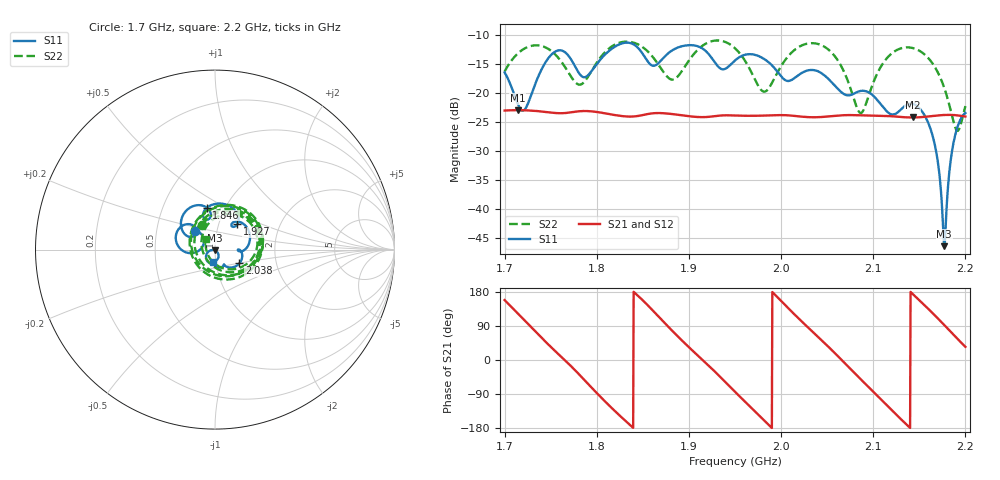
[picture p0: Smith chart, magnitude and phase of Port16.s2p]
# Hz S RI R 50
! CMT, CMT808U, 21440046, 21.4.3/4
! Date: 6/12/2026 9:39:45 AM
! Data: Format (Calibration Info)
! Freq	S11:Re/Im(F2)	S41:Re/Im(F2)	S14:Re/Im(F2)	S44:Re/Im(F2)
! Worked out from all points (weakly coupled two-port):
!   1001 points, 1.7 GHz to 2.2 GHz, reference 50 ohm
!   highest |S21| = -22.96 dB at 1.714 GHz (marker M1); lowest = -24.2 dB at 2.143 GHz (marker M2)
!   lowest |S11| = -46.4 dB at 2.177 GHz (marker M3), VSWR 1.01, Z = 49.8 - j0.423 ohm
!   |S11| at or under -10 dB: start of sweep to end of sweep
!   |S22| runs from -26.5 to -10.9 dB; largest |S21 - S12| = 0.0012
!   S11 on the Smith chart (normalised r, x): 1.7 GHz: 0.79, +0.17; 1.846 GHz: 0.82, +0.41; 1.927 GHz: 1.23, +0.36; 2.038 GHz: 1.30, -0.20; 2.2 GHz: 0.97, -0.13
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1.7e9  -0.1095 0.1034  -0.0656 0.0263  -0.0656 0.0253  -0.0719 0.1356
1.714e9  -0.0618 0.0535  -0.0393 0.0593  -0.04 0.0584  0.0477 0.2129
1.756e9  -0.2185 0.0718  0.0628 0.0239  0.0621 0.0248  0.1831 -0.1047
1.7835e9  -0.1036 0.094  0.0496 -0.0492  0.0502 -0.0482  -0.1088 -0.0489
1.8155e9  -0.1901 0.1435  -0.0375 -0.0536  -0.0365 -0.054  0.0577 0.243
1.846e9  -0.0465 0.2345  -0.0619 0.0148  -0.0619 0.0137  0.2592 -0.0172
1.867e9  -0.0586 0.1715  -0.028 0.0611  -0.0289 0.0604  0.0545 -0.1667
1.893e9  -0.000669 0.2539  0.0411 0.0492  0.0401 0.0497  -0.1383 0.0754
1.927e9  0.1251 0.142  0.0558 -0.0294  0.0561 -0.0284  0.1985 0.2009
1.95e9  0.1108 0.1555  0.00678 -0.0637  0.00789 -0.0634  0.2375 -0.0526
1.982e9  0.1915 0.0403  -0.0601 -0.0217  -0.0596 -0.0227  -0.0895 -0.0506
2.01e9  0.1281 -0.000104  -0.0423 0.048  -0.0431 0.0471  0.0125 0.2173
2.0335e9  0.1469 -0.0586  0.0148 0.06  0.0137 0.0602  0.2347 0.1318
2.038e9  0.1365 -0.0761  0.0253 0.0564  0.0242 0.0568  0.2524 0.0876
2.064e9  0.0543 -0.0888  0.0639 0.00492  0.0637 0.006  0.1295 -0.1219
2.086e9  0.0412 -0.0956  0.0415 -0.0491  0.0423 -0.0483  -0.0599 -0.0308
2.117e9  -0.00658 -0.0668  -0.0362 -0.0519  -0.0352 -0.0524  0.0657 0.1979
2.143e9  -0.0326 -0.0736  -0.0612 0.00654  -0.0612 0.00543  0.2351 0.066
2.165e9  -0.0389 -0.0135  -0.0339 0.0536  -0.0348 0.053  0.1476 -0.0973
2.177e9  -0.00218 -0.00425  -0.00282 0.0646  -0.004 0.0645  0.0426 -0.1027
2.187e9  0.02 -0.031  0.0252 0.0595  0.0241 0.0599  -0.0273 -0.05
2.2e9  -0.00998 -0.0665  0.0515 0.0358  0.0508 0.0367  -0.0487 0.0599
